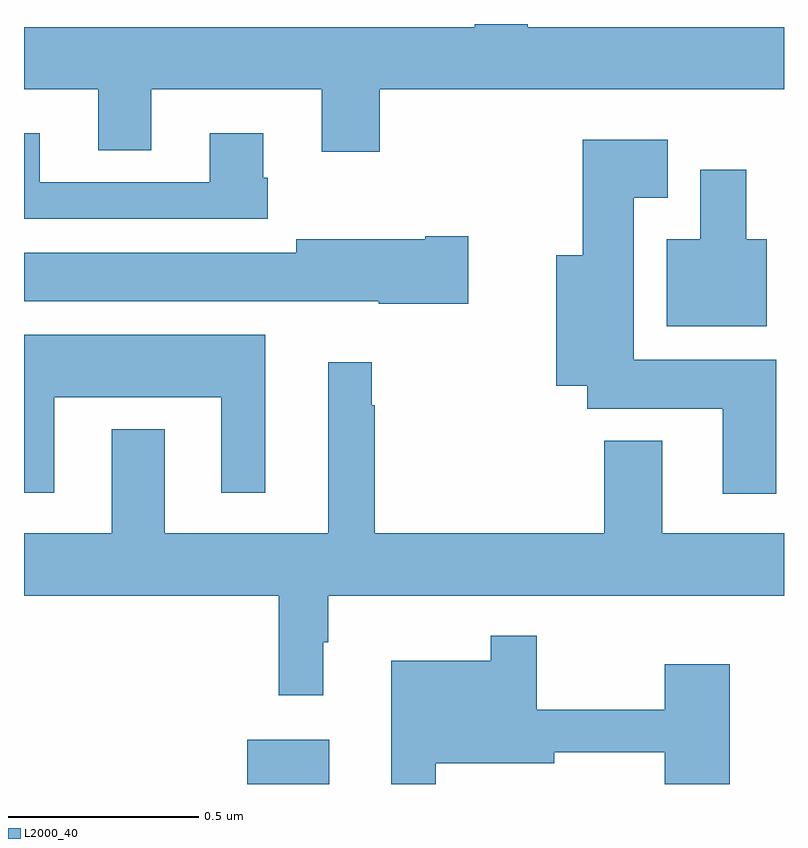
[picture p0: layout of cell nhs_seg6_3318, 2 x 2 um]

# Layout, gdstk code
import gdstk
lib = gdstk.Library(unit=1e-6, precision=1e-09)
def R(c, l, rs):  # rectangles x0, y0, x1, y1
    for r in rs: c.add(gdstk.rectangle(r[:2], r[2:], *l))
def P(c, l, *ps):  # polygons
    for p in ps: c.add(gdstk.Polygon(p, *l))
L2000_40 = (2000, 40)

nhs_seg6_3318 = lib.new_cell('nhs_seg6_3318')
R(nhs_seg6_3318, L2000_40, [(155.588,953.5,155.803,953.617)])
P(nhs_seg6_3318, L2000_40, [(155.936,955.328),(157,955.328),(157,955.492),(156.325,955.492),(156.325,955.5),(156.186,955.5),(156.186,955.492),(155,955.492),(155,955.328),(155.195,955.328),(155.195,955.168),(155.335,955.168),(155.335,955.328),(155.783,955.328),(155.783,955.164),(155.936,955.164)],
  [(155.642,955.095),(155.629,955.095),(155.629,955.213),(155.489,955.213),(155.489,955.083),(155.041,955.083),(155.041,955.213),(155,955.213),(155,954.987),(155.642,954.987)],
  [(156.979,954.616),(156.604,954.616),(156.604,955.043),(156.694,955.043),(156.694,955.195),(156.47,955.195),(156.47,954.892),(156.401,954.892),(156.401,954.548),(156.482,954.548),(156.482,954.488),(156.839,954.488),(156.839,954.264),(156.979,954.264)],
  [(156.955,954.934),(156.901,954.934),(156.901,955.117),(156.779,955.117),(156.779,954.934),(156.692,954.934),(156.692,954.704),(156.955,954.704)],
  [(156.169,954.942),(156.056,954.942),(156.056,954.934),(155.717,954.934),(155.717,954.898),(155,954.898),(155,954.77),(155.934,954.77),(155.934,954.764),(156.169,954.764)],
  [(155.08,954.518),(155.519,954.518),(155.519,954.267),(155.635,954.267),(155.635,954.682),(155,954.682),(155,954.267),(155.08,954.267)],
  [(155.788,953.873),(155.8,953.873),(155.8,953.996),(157,953.996),(157,954.16),(156.679,954.16),(156.679,954.403),(156.527,954.403),(156.527,954.16),(155.923,954.16),(155.923,954.497),(155.915,954.497),(155.915,954.61),(155.801,954.61),(155.801,954.16),(155.371,954.16),(155.371,954.433),(155.231,954.433),(155.231,954.16),(155,954.16),(155,953.996),(155.671,953.996),(155.671,953.733),(155.788,953.733)],
  [(156.083,953.555),(156.396,953.555),(156.396,953.584),(156.686,953.584),(156.686,953.5),(156.857,953.5),(156.857,953.815),(156.686,953.815),(156.686,953.695),(156.349,953.695),(156.349,953.89),(156.228,953.89),(156.228,953.824),(155.966,953.824),(155.966,953.5),(156.083,953.5)])

lib.write_gds('nhs_seg6_3318.gds')
